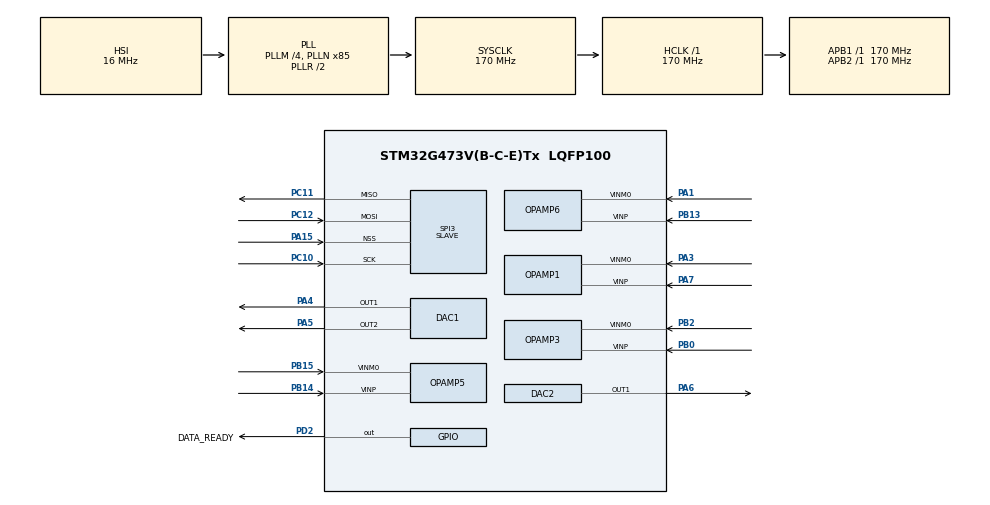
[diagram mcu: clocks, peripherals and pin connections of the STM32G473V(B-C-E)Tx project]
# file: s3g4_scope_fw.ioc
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ADC1.AWD1HighThreshold=4095
ADC1.AWD1ITMode=ENABLE
ADC1.AWD1LowThreshold=2048+768
ADC1.AWD2HighThreshold=2048+768
ADC1.AWD2ITMode=ENABLE
ADC1.AWDChannel-0\#ChannelRegularConversion=ADC_CHANNEL_VOPAMP1
ADC1.Channel-0\#ChannelRegularConversion=ADC_CHANNEL_VOPAMP1
ADC1.DMAContinuousRequests=ENABLE
ADC1.EnableAnalogWatchDog1=true
ADC1.EnableAnalogWatchDog2=true
ADC1.ExternalTrigConv=ADC_EXTERNALTRIG_T2_TRGO
ADC1.MonitoredBy-0\#ChannelRegularConversion=ADC_ANALOGWATCHDOG_2
ADC1.NbrOfConversionFlag=1
ADC1.OffsetNumber-0\#ChannelRegularConversion=ADC_OFFSET_NONE
ADC1.Rank-0\#ChannelRegularConversion=1
ADC1.RegFilteringConfig-0\#ChannelRegularConversion=ADC_AWD_FILTERING_NONE
ADC1.SamplingTime-0\#ChannelRegularConversion=ADC_SAMPLETIME_2CYCLES_5
ADC1.WDG2ChannelR1=ADC_CHANNEL_VOPAMP1
ADC1.WatchdogChannel=ADC_CHANNEL_VOPAMP1
ADC1.WatchdogMode2=ADC_ANALOGWATCHDOG_SINGLE_REGINJEC
ADC1.master=1
ADC3.AWD1ITMode=ENABLE
ADC3.AWD2ITMode=ENABLE
ADC3.AWDChannel-0\#ChannelRegularConversion=ADC_CHANNEL_VOPAMP3_ADC3
ADC3.Channel-0\#ChannelRegularConversion=ADC_CHANNEL_VOPAMP3_ADC3
ADC3.DMAContinuousRequests=ENABLE
ADC3.EnableAnalogWatchDog1=true
ADC3.EnableAnalogWatchDog2=true
ADC3.ExternalTrigConv=ADC_EXTERNALTRIG_T2_TRGO
ADC3.MonitoredBy-0\#ChannelRegularConversion=ADC_ANALOGWATCHDOG_2
ADC3.NbrOfConversionFlag=1
ADC3.OffsetNumber-0\#ChannelRegularConversion=ADC_OFFSET_NONE
ADC3.Rank-0\#ChannelRegularConversion=1
ADC3.RegFilteringConfig-0\#ChannelRegularConversion=ADC_AWD_FILTERING_NONE
ADC3.SamplingTime-0\#ChannelRegularConversion=ADC_SAMPLETIME_2CYCLES_5
ADC3.WDG2ChannelR1=ADC_CHANNEL_VOPAMP3_ADC3
ADC3.WatchdogChannel=ADC_CHANNEL_VOPAMP3_ADC3
ADC3.WatchdogMode2=ADC_ANALOGWATCHDOG_SINGLE_REGINJEC
ADC3.master=1
ADC4.AWD1ITMode=ENABLE
ADC4.AWD2ITMode=ENABLE
ADC4.AWDChannel-0\#ChannelRegularConversion=ADC_CHANNEL_VOPAMP6
ADC4.Channel-0\#ChannelRegularConversion=ADC_CHANNEL_VOPAMP6
ADC4.DMAContinuousRequests=ENABLE
ADC4.EnableAnalogWatchDog1=true
ADC4.EnableAnalogWatchDog2=true
ADC4.ExternalTrigConv=ADC_EXTERNALTRIG_T2_TRGO
ADC4.MonitoredBy-0\#ChannelRegularConversion=ADC_ANALOGWATCHDOG_2
ADC4.NbrOfConversionFlag=1
ADC4.OffsetNumber-0\#ChannelRegularConversion=ADC_OFFSET_NONE
ADC4.Rank-0\#ChannelRegularConversion=1
ADC4.RegFilteringConfig-0\#ChannelRegularConversion=ADC_AWD_FILTERING_NONE
ADC4.SamplingTime-0\#ChannelRegularConversion=ADC_SAMPLETIME_2CYCLES_5
ADC4.WDG2ChannelR1=ADC_CHANNEL_VOPAMP6
ADC4.WatchdogChannel=ADC_CHANNEL_VOPAMP6
ADC4.WatchdogMode2=ADC_ANALOGWATCHDOG_SINGLE_REGINJEC
ADC5.AWD1ITMode=ENABLE
ADC5.AWD2ITMode=ENABLE
ADC5.AWDChannel-0\#ChannelRegularConversion=ADC_CHANNEL_VOPAMP5
ADC5.Channel-0\#ChannelRegularConversion=ADC_CHANNEL_VOPAMP5
ADC5.DMAContinuousRequests=ENABLE
ADC5.EnableAnalogWatchDog1=true
ADC5.EnableAnalogWatchDog2=true
ADC5.ExternalTrigConv=ADC_EXTERNALTRIG_T2_TRGO
ADC5.MonitoredBy-0\#ChannelRegularConversion=ADC_ANALOGWATCHDOG_2
ADC5.NbrOfConversionFlag=1
ADC5.OffsetNumber-0\#ChannelRegularConversion=ADC_OFFSET_NONE
ADC5.Rank-0\#ChannelRegularConversion=1
ADC5.RegFilteringConfig-0\#ChannelRegularConversion=ADC_AWD_FILTERING_NONE
ADC5.SamplingTime-0\#ChannelRegularConversion=ADC_SAMPLETIME_2CYCLES_5
ADC5.WDG2ChannelR1=ADC_CHANNEL_VOPAMP5
ADC5.WatchdogChannel=ADC_CHANNEL_VOPAMP5
ADC5.WatchdogMode2=ADC_ANALOGWATCHDOG_SINGLE_REGINJEC
DAC1.DAC_Channel-DAC_OUT2=DAC_CHANNEL_2
DAC1.DAC_Trigger_OUT1-DAC_OUT1=DAC_TRIGGER_T4_TRGO
DAC1.DAC_Trigger_OUT2-DAC_OUT2=DAC_TRIGGER_T6_TRGO
Dma.ADC1.6.Direction=DMA_PERIPH_TO_MEMORY
Dma.ADC1.6.EventEnable=DISABLE
Dma.ADC1.6.Instance=DMA1_Channel1
Dma.ADC1.6.MemDataAlignment=DMA_MDATAALIGN_HALFWORD
Dma.ADC1.6.MemInc=DMA_MINC_ENABLE
Dma.ADC1.6.Mode=DMA_CIRCULAR
Dma.ADC1.6.PeriphDataAlignment=DMA_PDATAALIGN_HALFWORD
Dma.ADC1.6.PeriphInc=DMA_PINC_DISABLE
Dma.ADC1.6.Polarity=HAL_DMAMUX_REQ_GEN_RISING
Dma.ADC1.6.Priority=DMA_PRIORITY_LOW
Dma.ADC1.6.RequestNumber=1
Dma.ADC1.6.SignalID=NONE
Dma.ADC1.6.SyncEnable=DISABLE
Dma.ADC1.6.SyncPolarity=HAL_DMAMUX_SYNC_NO_EVENT
Dma.ADC1.6.SyncRequestNumber=1
Dma.ADC1.6.SyncSignalID=NONE
Dma.ADC3.7.Direction=DMA_PERIPH_TO_MEMORY
Dma.ADC3.7.EventEnable=DISABLE
Dma.ADC3.7.Instance=DMA1_Channel2
Dma.ADC3.7.MemDataAlignment=DMA_MDATAALIGN_HALFWORD
Dma.ADC3.7.MemInc=DMA_MINC_ENABLE
Dma.ADC3.7.Mode=DMA_CIRCULAR
Dma.ADC3.7.PeriphDataAlignment=DMA_PDATAALIGN_HALFWORD
Dma.ADC3.7.PeriphInc=DMA_PINC_DISABLE
Dma.ADC3.7.Polarity=HAL_DMAMUX_REQ_GEN_RISING
Dma.ADC3.7.Priority=DMA_PRIORITY_LOW
Dma.ADC3.7.RequestNumber=1
Dma.ADC3.7.SignalID=NONE
Dma.ADC3.7.SyncEnable=DISABLE
Dma.ADC3.7.SyncPolarity=HAL_DMAMUX_SYNC_NO_EVENT
Dma.ADC3.7.SyncRequestNumber=1
Dma.ADC3.7.SyncSignalID=NONE
Dma.ADC4.0.Direction=DMA_PERIPH_TO_MEMORY
Dma.ADC4.0.EventEnable=DISABLE
Dma.ADC4.0.Instance=DMA1_Channel3
Dma.ADC4.0.MemDataAlignment=DMA_MDATAALIGN_HALFWORD
Dma.ADC4.0.MemInc=DMA_MINC_ENABLE
Dma.ADC4.0.Mode=DMA_CIRCULAR
Dma.ADC4.0.PeriphDataAlignment=DMA_PDATAALIGN_HALFWORD
Dma.ADC4.0.PeriphInc=DMA_PINC_DISABLE
Dma.ADC4.0.Polarity=HAL_DMAMUX_REQ_GEN_RISING
Dma.ADC4.0.Priority=DMA_PRIORITY_LOW
Dma.ADC4.0.RequestNumber=1
Dma.ADC4.0.SignalID=NONE
Dma.ADC4.0.SyncEnable=DISABLE
Dma.ADC4.0.SyncPolarity=HAL_DMAMUX_SYNC_NO_EVENT
Dma.ADC4.0.SyncRequestNumber=1
Dma.ADC4.0.SyncSignalID=NONE
Dma.ADC5.1.Direction=DMA_PERIPH_TO_MEMORY
Dma.ADC5.1.EventEnable=DISABLE
Dma.ADC5.1.Instance=DMA1_Channel4
Dma.ADC5.1.MemDataAlignment=DMA_MDATAALIGN_HALFWORD
Dma.ADC5.1.MemInc=DMA_MINC_ENABLE
Dma.ADC5.1.Mode=DMA_CIRCULAR
Dma.ADC5.1.PeriphDataAlignment=DMA_PDATAALIGN_HALFWORD
Dma.ADC5.1.PeriphInc=DMA_PINC_DISABLE
Dma.ADC5.1.Polarity=HAL_DMAMUX_REQ_GEN_RISING
Dma.ADC5.1.Priority=DMA_PRIORITY_LOW
Dma.ADC5.1.RequestNumber=1
Dma.ADC5.1.SignalID=NONE
Dma.ADC5.1.SyncEnable=DISABLE
Dma.ADC5.1.SyncPolarity=HAL_DMAMUX_SYNC_NO_EVENT
Dma.ADC5.1.SyncRequestNumber=1
Dma.ADC5.1.SyncSignalID=NONE
Dma.DAC1_CH1.4.Direction=DMA_MEMORY_TO_PERIPH
Dma.DAC1_CH1.4.EventEnable=DISABLE
Dma.DAC1_CH1.4.Instance=DMA2_Channel1
Dma.DAC1_CH1.4.MemDataAlignment=DMA_MDATAALIGN_HALFWORD
Dma.DAC1_CH1.4.MemInc=DMA_MINC_ENABLE
Dma.DAC1_CH1.4.Mode=DMA_CIRCULAR
Dma.DAC1_CH1.4.PeriphDataAlignment=DMA_PDATAALIGN_WORD
Dma.DAC1_CH1.4.PeriphInc=DMA_PINC_DISABLE
Dma.DAC1_CH1.4.Polarity=HAL_DMAMUX_REQ_GEN_RISING
Dma.DAC1_CH1.4.Priority=DMA_PRIORITY_LOW
Dma.DAC1_CH1.4.RequestNumber=1
Dma.DAC1_CH1.4.SignalID=NONE
Dma.DAC1_CH1.4.SyncEnable=DISABLE
Dma.DAC1_CH1.4.SyncPolarity=HAL_DMAMUX_SYNC_NO_EVENT
Dma.DAC1_CH1.4.SyncRequestNumber=1
Dma.DAC1_CH1.4.SyncSignalID=NONE
Dma.DAC1_CH2.5.Direction=DMA_MEMORY_TO_PERIPH
Dma.DAC1_CH2.5.EventEnable=DISABLE
Dma.DAC1_CH2.5.Instance=DMA2_Channel2
Dma.DAC1_CH2.5.MemDataAlignment=DMA_MDATAALIGN_HALFWORD
Dma.DAC1_CH2.5.MemInc=DMA_MINC_ENABLE
Dma.DAC1_CH2.5.Mode=DMA_CIRCULAR
Dma.DAC1_CH2.5.PeriphDataAlignment=DMA_PDATAALIGN_WORD
Dma.DAC1_CH2.5.PeriphInc=DMA_PINC_DISABLE
Dma.DAC1_CH2.5.Polarity=HAL_DMAMUX_REQ_GEN_RISING
Dma.DAC1_CH2.5.Priority=DMA_PRIORITY_LOW
Dma.DAC1_CH2.5.RequestNumber=1
Dma.DAC1_CH2.5.SignalID=NONE
Dma.DAC1_CH2.5.SyncEnable=DISABLE
Dma.DAC1_CH2.5.SyncPolarity=HAL_DMAMUX_SYNC_NO_EVENT
Dma.DAC1_CH2.5.SyncRequestNumber=1
Dma.DAC1_CH2.5.SyncSignalID=NONE
Dma.Request0=ADC4
Dma.Request1=ADC5
Dma.Request2=SPI3_RX
Dma.Request3=SPI3_TX
Dma.Request4=DAC1_CH1
Dma.Request5=DAC1_CH2
Dma.Request6=ADC1
Dma.Request7=ADC3
Dma.SPI3_RX.2.Direction=DMA_PERIPH_TO_MEMORY
Dma.SPI3_RX.2.EventEnable=DISABLE
Dma.SPI3_RX.2.Instance=DMA1_Channel5
Dma.SPI3_RX.2.MemDataAlignment=DMA_MDATAALIGN_BYTE
Dma.SPI3_RX.2.MemInc=DMA_MINC_ENABLE
Dma.SPI3_RX.2.Mode=DMA_NORMAL
Dma.SPI3_RX.2.PeriphDataAlignment=DMA_PDATAALIGN_BYTE
Dma.SPI3_RX.2.PeriphInc=DMA_PINC_DISABLE
Dma.SPI3_RX.2.Polarity=HAL_DMAMUX_REQ_GEN_RISING
Dma.SPI3_RX.2.Priority=DMA_PRIORITY_LOW
Dma.SPI3_RX.2.RequestNumber=1
Dma.SPI3_RX.2.SignalID=NONE
Dma.SPI3_RX.2.SyncEnable=DISABLE
Dma.SPI3_RX.2.SyncPolarity=HAL_DMAMUX_SYNC_NO_EVENT
Dma.SPI3_RX.2.SyncRequestNumber=1
Dma.SPI3_RX.2.SyncSignalID=NONE
Dma.SPI3_TX.3.Direction=DMA_MEMORY_TO_PERIPH
Dma.SPI3_TX.3.EventEnable=DISABLE
Dma.SPI3_TX.3.Instance=DMA1_Channel6
Dma.SPI3_TX.3.MemDataAlignment=DMA_MDATAALIGN_BYTE
Dma.SPI3_TX.3.MemInc=DMA_MINC_ENABLE
Dma.SPI3_TX.3.Mode=DMA_NORMAL
Dma.SPI3_TX.3.PeriphDataAlignment=DMA_PDATAALIGN_BYTE
Dma.SPI3_TX.3.PeriphInc=DMA_PINC_DISABLE
Dma.SPI3_TX.3.Polarity=HAL_DMAMUX_REQ_GEN_RISING
Dma.SPI3_TX.3.Priority=DMA_PRIORITY_LOW
Dma.SPI3_TX.3.RequestNumber=1
Dma.SPI3_TX.3.SignalID=NONE
Dma.SPI3_TX.3.SyncEnable=DISABLE
Dma.SPI3_TX.3.SyncPolarity=HAL_DMAMUX_SYNC_NO_EVENT
Dma.SPI3_TX.3.SyncRequestNumber=1
Dma.SPI3_TX.3.SyncSignalID=NONE
Mcu.Family=STM32G4
Mcu.Name=STM32G473V(B-C-E)Tx
Mcu.Package=LQFP100
NVIC.ADC1_2_IRQn=true\:0\:0\:false\:false\:true\:true\:true\:true
NVIC.ADC3_IRQn=true\:0\:0\:false\:false\:true\:true\:true\:true
NVIC.ADC4_IRQn=true\:0\:0\:false\:false\:true\:true\:true\:true
NVIC.ADC5_IRQn=true\:0\:0\:false\:false\:true\:true\:true\:true
NVIC.DMA1_Channel1_IRQn=true\:0\:0\:false\:false\:true\:false\:true\:true
NVIC.DMA1_Channel2_IRQn=true\:0\:0\:false\:false\:true\:false\:true\:true
NVIC.DMA1_Channel3_IRQn=true\:0\:0\:false\:false\:true\:false\:true\:true
NVIC.DMA1_Channel4_IRQn=true\:0\:0\:false\:false\:true\:false\:true\:true
NVIC.DMA1_Channel5_IRQn=true\:0\:0\:false\:false\:true\:false\:true\:true
NVIC.DMA1_Channel6_IRQn=true\:0\:0\:false\:false\:true\:false\:true\:true
NVIC.DMA2_Channel1_IRQn=true\:0\:0\:false\:false\:true\:false\:true\:true
NVIC.DMA2_Channel2_IRQn=true\:0\:0\:false\:false\:true\:false\:true\:true
NVIC.PriorityGroup=NVIC_PRIORITYGROUP_4
NVIC.SPI3_IRQn=true\:0\:0\:false\:false\:true\:true\:true\:true
NVIC.TIM3_IRQn=true\:0\:0\:false\:false\:true\:true\:true\:true
PA1.Mode=PGA Internally connected_IO0_BIAS
PA1.Signal=OPAMP6_VINM0
PA15.Mode=NSS_Signal_Hard_Input
PA15.Signal=SPI3_NSS
PA3.Mode=PGA Internally connected_IO0_BIAS
PA3.Signal=OPAMP1_VINM0
PA4.Signal=COMP_DAC11_group
PA5.Signal=COMP_DAC12_group
PA6.Signal=COMP_DAC21_group
PA7.Mode=PGA Internally connected_IO0_BIAS
PA7.Signal=OPAMP1_VINP
PB0.Mode=PGA Internally connected_IO0_BIAS
PB0.Signal=OPAMP3_VINP
PB13.Mode=PGA Internally connected_IO0_BIAS
PB13.Signal=OPAMP6_VINP
PB14.Mode=PGA Internally connected_IO0_BIAS
PB14.Signal=OPAMP5_VINP
PB15.Mode=PGA Internally connected_IO0_BIAS
PB15.Signal=OPAMP5_VINM0
PB2.Mode=PGA Internally connected_IO0_BIAS
PB2.Signal=OPAMP3_VINM0
PC10.Mode=Full_Duplex_Slave
PC10.Signal=SPI3_SCK
PC11.Mode=Full_Duplex_Slave
PC11.Signal=SPI3_MISO
PC12.Mode=Full_Duplex_Slave
PC12.Signal=SPI3_MOSI
PD2.GPIO_Label=DATA_READY
PD2.GPIO_PuPd=GPIO_NOPULL
PD2.GPIO_Speed=GPIO_SPEED_FREQ_VERY_HIGH
PD2.Signal=GPIO_Output
PF0-OSC_IN.Mode=HSE-External-Oscillator
PF0-OSC_IN.Signal=RCC_OSC_IN
PF1-OSC_OUT.Mode=HSE-External-Oscillator
PF1-OSC_OUT.Signal=RCC_OSC_OUT
ProjectManager.HeapSize=0x200
ProjectManager.StackSize=0x400
ProjectManager.TargetToolchain=STM32CubeIDE
RCC.ADC12Freq_Value=170000000
RCC.ADC345Freq_Value=170000000
RCC.AHBFreq_Value=170000000
RCC.APB1Freq_Value=170000000
RCC.APB1TimFreq_Value=170000000
RCC.APB2Freq_Value=170000000
RCC.APB2TimFreq_Value=170000000
RCC.CortexFreq_Value=170000000
RCC.EXTERNAL_CLOCK_VALUE=12288000
RCC.HCLKFreq_Value=170000000
RCC.HSE_VALUE=8000000
RCC.HSI48_VALUE=48000000
RCC.HSI_VALUE=16000000
RCC.LSE_VALUE=32768
RCC.PLLM=RCC_PLLM_DIV4
RCC.PLLN=85
RCC.SYSCLKFreq_VALUE=170000000
RCC.SYSCLKSource=RCC_SYSCLKSOURCE_PLLCLK
RCC.USBFreq_Value=170000000
RCC.VCOOutputFreq_Value=340000000
SH.COMP_DAC11_group.0=DAC1_OUT1,DAC_OUT1
SH.COMP_DAC12_group.0=DAC1_OUT2,DAC_OUT2
SH.COMP_DAC21_group.0=DAC2_OUT1,DAC_OUT1
SPI3.DataSize=SPI_DATASIZE_8BIT
SPI3.Direction=SPI_DIRECTION_2LINES
SPI3.Mode=SPI_MODE_SLAVE
SPI3.VirtualNSS=VM_NSSHARD
SPI3.VirtualType=VM_SLAVE
TIM2.PeriodNoDither=2-1
TIM2.Prescaler=85-1
TIM2.TIM_MasterOutputTrigger=TIM_TRGO_UPDATE
TIM3.Channel-Output\ Compare1\ No\ Output=TIM_CHANNEL_1
TIM3.PeriodNoDither=512-1
TIM3.Prescaler=85-1
TIM3.PulseNoDither_1=512-1
TIM4.PeriodNoDither=2-1
TIM4.Prescaler=85-1
TIM4.TIM_MasterOutputTrigger=TIM_TRGO_UPDATE
TIM6.PeriodNoDither=2-1
TIM6.Prescaler=85-1
TIM6.TIM_MasterOutputTrigger=TIM_TRGO_UPDATE
VP_ADC1_OPAMP_INTERNAL1.Mode=IN-OPAMP1
VP_ADC3_OPAMP_INTERNAL3.Mode=IN-OPAMP3
VP_ADC4_OPAMP_INTERNAL6.Mode=IN-OPAMP6
VP_ADC5_OPAMP_INTERNAL5.Mode=IN-OPAMP5
VP_SYS_VS_DBSignals.Mode=DisableDeadBatterySignals
VP_TIM2_VS_ClockSourceINT.Mode=Internal
VP_TIM3_VS_ClockSourceINT.Mode=Internal
VP_TIM3_VS_no_output1.Mode=Output Compare1 No Output
VP_TIM4_VS_ClockSourceINT.Mode=Internal
VP_TIM6_VS_ClockSourceINT.Mode=Enable_Timer
board=custom

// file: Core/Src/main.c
/* USER CODE BEGIN Header */
/**
  ******************************************************************************
  * @file           : main.c
  * @brief          : Main program body
  ******************************************************************************
  * @attention
  *
  * Copyright (c) 2026 STMicroelectronics.
  * All rights reserved.
  *
  * This software is licensed under terms that can be found in the LICENSE file
  * in the root directory of this software component.
  * If no LICENSE file comes with this software, it is provided AS-IS.
  *
  ******************************************************************************
  */
/* USER CODE END Header */
#include "main.h"
#include "adc.h"
#include "dac.h"
#include "dma.h"
#include "opamp.h"
#include "spi.h"
#include "tim.h"
#include "gpio.h"

/* USER CODE BEGIN Includes */
#include "scope.h"
#include "wavegen.h"
#include "comm_spi.h"
#include "stm32g4xx_ll_adc.h"
/* USER CODE END Includes */

/* USER CODE BEGIN PV */
#define ADC_BUFFER_LEN (512)
uint16_t buffer1[ADC_BUFFER_LEN];
uint16_t buffer2[ADC_BUFFER_LEN];
uint16_t buffer3[ADC_BUFFER_LEN];
uint16_t buffer4[ADC_BUFFER_LEN];
uint16_t buffer5[ADC_BUFFER_LEN];
uint16_t buffer6[ADC_BUFFER_LEN];
uint16_t buffer7[ADC_BUFFER_LEN];
uint16_t buffer8[ADC_BUFFER_LEN];

#define DAC_BUFFER_LEN (512)
uint16_t dac1_buffer[DAC_BUFFER_LEN];
uint16_t dac2_buffer[DAC_BUFFER_LEN];

tScope scope;
tWaveGen wavegen;
/* USER CODE END PV */

void SystemClock_Config(void);

/* USER CODE BEGIN 0 */
static void scope_force_trigger(tScope *pThis) {
    if (pThis->state == SCOPE_STATE_WAIT_FOR_CONVERSION_COMPLETE ||
        pThis->state == SCOPE_STATE_WAIT_FOR_ARM ||
        pThis->state == SCOPE_STATE_WAIT_FOR_TRIGGER) {

        // Clear relevant TIM interrupts and flags
        __HAL_TIM_CLEAR_IT(pThis->horizontal.htim_stop, TIM_IT_CC1);
        __HAL_TIM_CLEAR_IT(pThis->horizontal.htim_stop, TIM_IT_CC2);
        __HAL_TIM_CLEAR_IT(pThis->horizontal.htim_stop, TIM_IT_UPDATE);
        __HAL_TIM_CLEAR_FLAG(pThis->horizontal.htim_stop, TIM_FLAG_CC1);
        __HAL_TIM_CLEAR_FLAG(pThis->horizontal.htim_stop, TIM_FLAG_CC2);
        __HAL_TIM_CLEAR_FLAG(pThis->horizontal.htim_stop, TIM_FLAG_UPDATE);

        // Start the horizontal timer for triggering
        HAL_TIM_Base_Start(pThis->horizontal.htim_stop);
        HAL_TIM_OnePulse_Start_IT(pThis->horizontal.htim_stop, TIM_CHANNEL_1);

        // Disable ADC analog watchdogs
        LL_ADC_DisableIT_AWD1(pThis->trigger.hadc1->Instance);
        LL_ADC_DisableIT_AWD2(pThis->trigger.hadc1->Instance);

        // Transition the scope state to waiting for stop
        pThis->state = SCOPE_STATE_WAIT_FOR_STOP;
    }
}
/* USER CODE END 0 */

int main(void)
{

  /* MCU Configuration--------------------------------------------------------*/

  /* Reset of all peripherals, Initializes the Flash interface and the Systick. */
  HAL_Init();

  /* Configure the system clock */
  SystemClock_Config();

  /* Initialize all configured peripherals */
  MX_GPIO_Init();
  MX_DMA_Init();
  MX_ADC1_Init();
  MX_OPAMP1_Init();
  MX_OPAMP3_Init();
  MX_OPAMP5_Init();
  MX_OPAMP6_Init();
  MX_ADC3_Init();
  MX_ADC4_Init();
  MX_ADC5_Init();
  MX_SPI3_Init();
  MX_DAC1_Init();
  MX_TIM2_Init();
  MX_TIM3_Init();
  MX_DAC2_Init();
  MX_TIM4_Init();
  MX_TIM6_Init();
  /* USER CODE BEGIN 2 */
  pScope = &scope;

  // Initialize scope library and link hardware drivers
  scope_init_ll(&scope,
      &htim2,   // clock timer
      &htim3,   // stop timer (one-pulse)
      &hdac2,   // offset DAC (DAC2_OUT1)
      &hopamp1, // PGA Channel 1
      &hopamp3, // PGA Channel 2
      &hopamp5, // PGA Channel 3
      &hopamp6, // PGA Channel 4
      &hadc1,   // ADC Channel 1 (VOPAMP1)
      &hadc3,   // ADC Channel 2 (VOPAMP3)
      &hadc5,   // ADC Channel 3 (VOPAMP5)
      &hadc4    // ADC Channel 4 (VOPAMP6)
  );

  // Bind memory buffers for double-buffering
  scope_init(&scope,
      buffer1, buffer2, buffer3, buffer4,
      buffer5, buffer6, buffer7, buffer8,
      ADC_BUFFER_LEN
  );

  // Set default configurations
  scope_config_horizontal(&scope, 0, 100); // offset = 0, scale = 100kHz
  scope_config_vertical(&scope, 2048, 0, 0, 0, 0); // offset = 1.65V, all gains to x2 (index 0)

  scope.vertical.enable1 = 1;
  scope.vertical.scale1 = 0; // gain index 0
  scope.vertical.offset1 = 192; // display midpoint

  scope_config_trigger(&scope, 0, 0, 2048, 0); // CH1, Auto mode, level 2048, Rising edge

  // Initialize wave generator (DDS)
  wavegen_init_ll(&wavegen, &hdac1, &htim4, &htim6);
  wavegen_init(&wavegen, dac1_buffer, dac2_buffer, DAC_BUFFER_LEN);

  wavegen_config_horizontal(&wavegen, WAVEGEN_CHANNEL_1, 1000); // 1 kHz
  wavegen_config_vertical(&wavegen, WAVEGEN_CHANNEL_1, WAVEGEN_TYPE_SINE, 1551, 1551, 0);
  wavegen_config_horizontal(&wavegen, WAVEGEN_CHANNEL_2, 1000); // 1 kHz
  wavegen_config_vertical(&wavegen, WAVEGEN_CHANNEL_2, WAVEGEN_TYPE_SINE, 1551, 1551, 0);

  // Initialize SPI Slave communication with ESP32-S3
  comm_spi_init(&hspi3);
  /* USER CODE END 2 */

  /* Infinite loop */
  /* USER CODE BEGIN WHILE */
  tScopeState prev_state = SCOPE_STATE_IDLE;
  uint32_t capture_start_tick = 0;

  while (1)
  {
      // Process commands received from ESP32-S3
      comm_spi_process_cmd(&scope, &wavegen);

      // Detect start of capture to record timestamp
      if (scope.state != SCOPE_STATE_IDLE && prev_state == SCOPE_STATE_IDLE) {
          capture_start_tick = HAL_GetTick();
      }
      prev_state = scope.state;

      // Auto trigger timeout (100 ms)
      if (scope.trigger.mode == 0) { // AUTO Mode
          if (scope.state == SCOPE_STATE_WAIT_FOR_CONVERSION_COMPLETE ||
              scope.state == SCOPE_STATE_WAIT_FOR_ARM ||
              scope.state == SCOPE_STATE_WAIT_FOR_TRIGGER) {
              if (HAL_GetTick() - capture_start_tick > 100) {
                  scope_force_trigger(&scope);
              }
          }
      }

      // If scope is in continuous mode and idle, trigger next capture
      if (scope_is_continuous(&scope) && scope.state == SCOPE_STATE_IDLE) {
          scope_start(&scope, scope.continuous);
      }
    /* USER CODE END WHILE */

  }
}

void SystemClock_Config(void)
{
  RCC_OscInitTypeDef RCC_OscInitStruct = {0};
  RCC_ClkInitTypeDef RCC_ClkInitStruct = {0};

  /** Configure the main internal regulator output voltage
  */
  HAL_PWREx_ControlVoltageScaling(PWR_REGULATOR_VOLTAGE_SCALE1_BOOST);

  /** Initializes the RCC Oscillators according to the specified parameters
  * in the RCC_OscInitTypeDef structure.
  */
  RCC_OscInitStruct.OscillatorType = RCC_OSCILLATORTYPE_HSI;
  RCC_OscInitStruct.HSIState = RCC_HSI_ON;
  RCC_OscInitStruct.HSICalibrationValue = RCC_HSICALIBRATION_DEFAULT;
  RCC_OscInitStruct.PLL.PLLState = RCC_PLL_ON;
  RCC_OscInitStruct.PLL.PLLSource = RCC_PLLSOURCE_HSI;
  RCC_OscInitStruct.PLL.PLLM = RCC_PLLM_DIV4;
  RCC_OscInitStruct.PLL.PLLN = 85;
  RCC_OscInitStruct.PLL.PLLP = RCC_PLLP_DIV2;
  RCC_OscInitStruct.PLL.PLLQ = RCC_PLLQ_DIV2;
  RCC_OscInitStruct.PLL.PLLR = RCC_PLLR_DIV2;
  if (HAL_RCC_OscConfig(&RCC_OscInitStruct) != HAL_OK)
  {
    Error_Handler();
  }

  /** Initializes the CPU, AHB and APB buses clocks
  */
  RCC_ClkInitStruct.ClockType = RCC_CLOCKTYPE_HCLK|RCC_CLOCKTYPE_SYSCLK
                              |RCC_CLOCKTYPE_PCLK1|RCC_CLOCKTYPE_PCLK2;
  RCC_ClkInitStruct.SYSCLKSource = RCC_SYSCLKSOURCE_PLLCLK;
  RCC_ClkInitStruct.AHBCLKDivider = RCC_SYSCLK_DIV1;
  RCC_ClkInitStruct.APB1CLKDivider = RCC_HCLK_DIV1;
  RCC_ClkInitStruct.APB2CLKDivider = RCC_HCLK_DIV1;

  if (HAL_RCC_ClockConfig(&RCC_ClkInitStruct, FLASH_LATENCY_4) != HAL_OK)
  {
    Error_Handler();
  }
}

void Error_Handler(void)
{
  __disable_irq();
  while (1)
  {
  }
}
